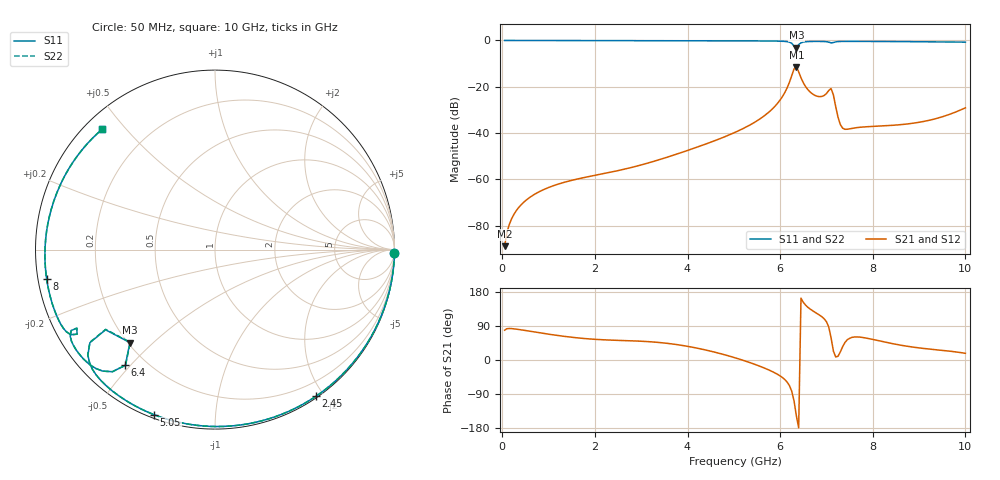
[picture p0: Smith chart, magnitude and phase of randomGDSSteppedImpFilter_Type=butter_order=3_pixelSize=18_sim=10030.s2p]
! freq	dB(S11)	phase(S11)	dB(S12)	phase(S12)
!  dB(S21)	phase(S21)	dB(S22)	phase(S22)
!S-par simulation data
#  GHz  S  DB  R 50
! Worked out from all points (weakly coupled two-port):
!   200 points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, 50 MHz to 10 GHz, reference 50 ohm
!   highest |S21| = -11.45 dB at 6.35 GHz (marker M1); lowest = -88.9 dB at 50 MHz (marker M2)
!   lowest |S11| = -3.1 dB at 6.35 GHz (marker M3), VSWR 5.72, Z = 10.4 - j21.2 ohm
!   |S11| at or under -10 dB: nowhere
!   |S22| runs from -3.1 to 0.0 dB; largest |S21 - S12| = 0
!   S11 on the Smith chart (normalised r, x): 50 MHz: 0, -99; 2.45 GHz: 0.02, -1.91; 5.05 GHz: 0.01, -0.70; 6.4 GHz: 0.13, -0.48; 8 GHz: 0.02, -0.09; 10 GHz: 0.05, +0.43
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0.05  -0.00 -1.2  -88.87 78.7  -88.87 78.7  -0.00 -1.2
0.15  -0.00 -3.5  -79.56 83.1  -79.56 83.1  -0.00 -3.5
0.35  -0.01 -8.1  -72.27 80.7  -72.27 80.7  -0.01 -8.1
0.7  -0.02 -16.2  -66.42 73.9  -66.42 73.9  -0.02 -16.2
1.75  -0.05 -39.9  -59.29 56.9  -59.29 56.9  -0.05 -40.0
2.45  -0.07 -55.4  -56.44 52.0  -56.44 52.0  -0.07 -55.4
3.4  -0.10 -75.8  -51.44 46.1  -51.44 46.1  -0.10 -75.8
5.05  -0.17 -110.2  -39.49 5.0  -39.49 5.0  -0.17 -110.2
5.9  -0.26 -129.3  -28.17 -34.8  -28.17 -34.8  -0.27 -129.4
6.1  -0.40 -135.6  -22.52 -51.5  -22.52 -51.5  -0.40 -135.6
6.25  -1.22 -143.3  -15.22 -82.2  -15.22 -82.2  -1.23 -143.5
6.35  -3.07 -132.4  -11.45 -147.1  -11.45 -147.1  -3.10 -132.4
6.4  -1.77 -127.8  -13.54 -178.8  -13.54 -178.8  -1.78 -127.7
6.7  -0.42 -140.2  -23.14 130.0  -23.14 130.0  -0.42 -140.2
6.9  -0.43 -146.0  -24.19 114.1  -24.19 114.1  -0.43 -146.0
7.1  -1.05 -150.4  -20.78 58.4  -20.78 58.4  -1.06 -150.4
7.25  -0.48 -151.1  -33.18 10.0  -33.18 10.0  -0.48 -151.1
7.35  -0.41 -154.1  -37.91 35.3  -37.91 35.3  -0.41 -154.0
8  -0.43 -170.0  -37.14 54.3  -37.14 54.3  -0.43 -170.0
8.35  -0.46 -178.6  -36.77 45.0  -36.77 45.0  -0.46 -178.6
9.25  -0.59 157.4  -34.35 28.5  -34.35 28.5  -0.59 157.4
10  -0.73 133.2  -29.10 17.6  -29.10 17.6  -0.73 133.2
